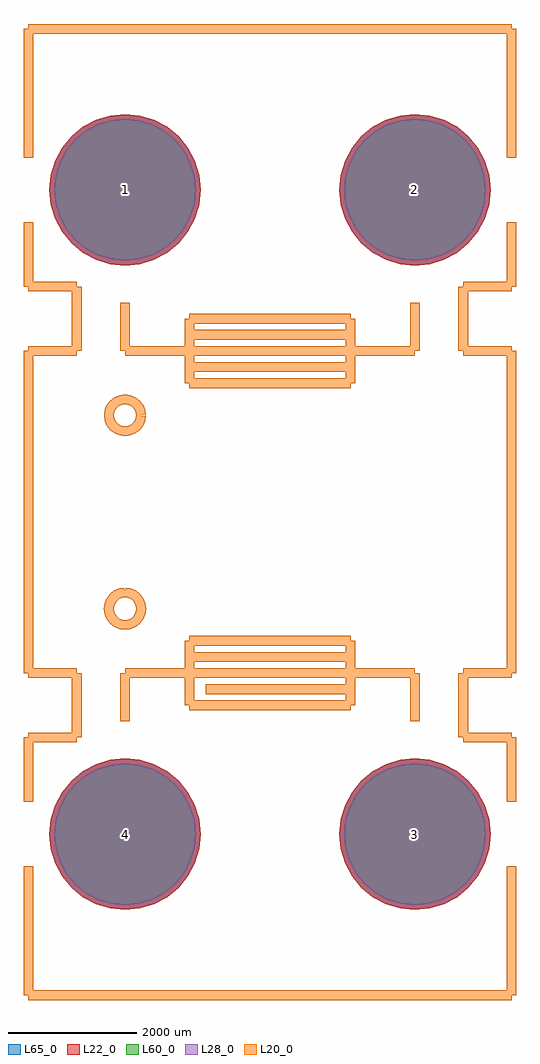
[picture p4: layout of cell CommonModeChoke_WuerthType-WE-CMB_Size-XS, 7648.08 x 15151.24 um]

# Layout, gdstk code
import gdstk
lib = gdstk.Library(unit=1e-6, precision=1e-09)
def P(c, l, *ps):  # polygons
    for p in ps: c.add(gdstk.Polygon(p, *l))
L20_0 = (20, 0)
L22_0 = (22, 0)
L28_0 = (28, 0)
L60_0 = (60, 0)
L65_0 = (65, 0)

commonmodechoke_wuerthty = lib.new_cell('CommonModeChoke_WuerthType-WE-CMB_Size-XS')
P(commonmodechoke_wuerthty, L22_0, [(-1075.62,5001.26),(-1098.194,5230.456),(-1165.048,5450.844),(-1273.613,5653.955),(-1419.717,5831.983),(-1597.745,5978.087),(-1800.856,6086.652),(-2021.244,6153.506),(-2250.44,6176.08),(-2479.636,6153.506),(-2700.024,6086.652),(-2903.135,5978.087),(-3081.163,5831.983),(-3227.267,5653.955),(-3335.832,5450.844),(-3402.686,5230.456),(-3425.26,5001.26),(-3402.686,4772.064),(-3335.832,4551.676),(-3227.267,4348.565),(-3081.163,4170.537),(-2903.135,4024.433),(-2700.024,3915.868),(-2479.636,3849.014),(-2250.44,3826.44),(-2021.244,3849.014),(-1800.856,3915.868),(-1597.745,4024.433),(-1419.717,4170.537),(-1273.613,4348.565),(-1165.048,4551.676),(-1098.194,4772.064)],
  [(3425.26,5001.26),(3402.686,5230.456),(3335.832,5450.844),(3227.267,5653.955),(3081.163,5831.983),(2903.135,5978.087),(2700.024,6086.652),(2479.636,6153.506),(2250.44,6176.08),(2021.244,6153.506),(1800.856,6086.652),(1597.745,5978.087),(1419.717,5831.983),(1273.613,5653.955),(1165.048,5450.844),(1098.194,5230.456),(1075.62,5001.26),(1098.194,4772.064),(1165.048,4551.676),(1273.613,4348.565),(1419.717,4170.537),(1597.745,4024.433),(1800.856,3915.868),(2021.244,3849.014),(2250.44,3826.44),(2479.636,3849.014),(2700.024,3915.868),(2903.135,4024.433),(3081.163,4170.537),(3227.267,4348.565),(3335.832,4551.676),(3402.686,4772.064)],
  [(3425.26,-5001.26),(3402.686,-4772.064),(3335.832,-4551.676),(3227.267,-4348.565),(3081.163,-4170.537),(2903.135,-4024.433),(2700.024,-3915.868),(2479.636,-3849.014),(2250.44,-3826.44),(2021.244,-3849.014),(1800.856,-3915.868),(1597.745,-4024.433),(1419.717,-4170.537),(1273.613,-4348.565),(1165.048,-4551.676),(1098.194,-4772.064),(1075.62,-5001.26),(1098.194,-5230.456),(1165.048,-5450.844),(1273.613,-5653.955),(1419.717,-5831.983),(1597.745,-5978.087),(1800.856,-6086.652),(2021.244,-6153.506),(2250.44,-6176.08),(2479.636,-6153.506),(2700.024,-6086.652),(2903.135,-5978.087),(3081.163,-5831.983),(3227.267,-5653.955),(3335.832,-5450.844),(3402.686,-5230.456)],
  [(-1075.62,-5001.26),(-1098.194,-4772.064),(-1165.048,-4551.676),(-1273.613,-4348.565),(-1419.717,-4170.537),(-1597.745,-4024.433),(-1800.856,-3915.868),(-2021.244,-3849.014),(-2250.44,-3826.44),(-2479.636,-3849.014),(-2700.024,-3915.868),(-2903.135,-4024.433),(-3081.163,-4170.537),(-3227.267,-4348.565),(-3335.832,-4551.676),(-3402.686,-4772.064),(-3425.26,-5001.26),(-3402.686,-5230.456),(-3335.832,-5450.844),(-3227.267,-5653.955),(-3081.163,-5831.983),(-2903.135,-5978.087),(-2700.024,-6086.652),(-2479.636,-6153.506),(-2250.44,-6176.08),(-2021.244,-6153.506),(-1800.856,-6086.652),(-1597.745,-5978.087),(-1419.717,-5831.983),(-1273.613,-5653.955),(-1165.048,-5450.844),(-1098.194,-5230.456)])
P(commonmodechoke_wuerthty, L28_0, [(-1150.62,5001.26),(-1171.753,5215.824),(-1234.339,5422.143),(-1335.973,5612.287),(-1472.75,5778.95),(-1639.413,5915.727),(-1829.557,6017.361),(-2035.876,6079.947),(-2250.44,6101.08),(-2465.004,6079.947),(-2671.323,6017.361),(-2861.467,5915.727),(-3028.13,5778.95),(-3164.907,5612.287),(-3266.541,5422.143),(-3329.127,5215.824),(-3350.26,5001.26),(-3329.127,4786.696),(-3266.541,4580.377),(-3164.907,4390.233),(-3028.13,4223.57),(-2861.467,4086.793),(-2671.323,3985.159),(-2465.004,3922.573),(-2250.44,3901.44),(-2035.876,3922.573),(-1829.557,3985.159),(-1639.413,4086.793),(-1472.75,4223.57),(-1335.973,4390.233),(-1234.339,4580.377),(-1171.753,4786.696)],
  [(3350.26,5001.26),(3329.127,5215.824),(3266.541,5422.143),(3164.907,5612.287),(3028.13,5778.95),(2861.467,5915.727),(2671.323,6017.361),(2465.004,6079.947),(2250.44,6101.08),(2035.876,6079.947),(1829.557,6017.361),(1639.413,5915.727),(1472.75,5778.95),(1335.973,5612.287),(1234.339,5422.143),(1171.753,5215.824),(1150.62,5001.26),(1171.753,4786.696),(1234.339,4580.377),(1335.973,4390.233),(1472.75,4223.57),(1639.413,4086.793),(1829.557,3985.159),(2035.876,3922.573),(2250.44,3901.44),(2465.004,3922.573),(2671.323,3985.159),(2861.467,4086.793),(3028.13,4223.57),(3164.907,4390.233),(3266.541,4580.377),(3329.127,4786.696)],
  [(3350.26,-5001.26),(3329.127,-4786.696),(3266.541,-4580.377),(3164.907,-4390.233),(3028.13,-4223.57),(2861.467,-4086.793),(2671.323,-3985.159),(2465.004,-3922.573),(2250.44,-3901.44),(2035.876,-3922.573),(1829.557,-3985.159),(1639.413,-4086.793),(1472.75,-4223.57),(1335.973,-4390.233),(1234.339,-4580.377),(1171.753,-4786.696),(1150.62,-5001.26),(1171.753,-5215.824),(1234.339,-5422.143),(1335.973,-5612.287),(1472.75,-5778.95),(1639.413,-5915.727),(1829.557,-6017.361),(2035.876,-6079.947),(2250.44,-6101.08),(2465.004,-6079.947),(2671.323,-6017.361),(2861.467,-5915.727),(3028.13,-5778.95),(3164.907,-5612.287),(3266.541,-5422.143),(3329.127,-5215.824)],
  [(-1150.62,-5001.26),(-1171.753,-4786.696),(-1234.339,-4580.377),(-1335.973,-4390.233),(-1472.75,-4223.57),(-1639.413,-4086.793),(-1829.557,-3985.159),(-2035.876,-3922.573),(-2250.44,-3901.44),(-2465.004,-3922.573),(-2671.323,-3985.159),(-2861.467,-4086.793),(-3028.13,-4223.57),(-3164.907,-4390.233),(-3266.541,-4580.377),(-3329.127,-4786.696),(-3350.26,-5001.26),(-3329.127,-5215.824),(-3266.541,-5422.143),(-3164.907,-5612.287),(-3028.13,-5778.95),(-2861.467,-5915.727),(-2671.323,-6017.361),(-2465.004,-6079.947),(-2250.44,-6101.08),(-2035.876,-6079.947),(-1829.557,-6017.361),(-1639.413,-5915.727),(-1472.75,-5778.95),(-1335.973,-5612.287),(-1234.339,-5422.143),(-1171.753,-5215.824)])
P(commonmodechoke_wuerthty, L60_0, [(-1150.62,5001.26),(-1171.753,5215.824),(-1234.339,5422.143),(-1335.973,5612.287),(-1472.75,5778.95),(-1639.413,5915.727),(-1829.557,6017.361),(-2035.876,6079.947),(-2250.44,6101.08),(-2465.004,6079.947),(-2671.323,6017.361),(-2861.467,5915.727),(-3028.13,5778.95),(-3164.907,5612.287),(-3266.541,5422.143),(-3329.127,5215.824),(-3350.26,5001.26),(-3329.127,4786.696),(-3266.541,4580.377),(-3164.907,4390.233),(-3028.13,4223.57),(-2861.467,4086.793),(-2671.323,3985.159),(-2465.004,3922.573),(-2250.44,3901.44),(-2035.876,3922.573),(-1829.557,3985.159),(-1639.413,4086.793),(-1472.75,4223.57),(-1335.973,4390.233),(-1234.339,4580.377),(-1171.753,4786.696)],
  [(3350.26,5001.26),(3329.127,5215.824),(3266.541,5422.143),(3164.907,5612.287),(3028.13,5778.95),(2861.467,5915.727),(2671.323,6017.361),(2465.004,6079.947),(2250.44,6101.08),(2035.876,6079.947),(1829.557,6017.361),(1639.413,5915.727),(1472.75,5778.95),(1335.973,5612.287),(1234.339,5422.143),(1171.753,5215.824),(1150.62,5001.26),(1171.753,4786.696),(1234.339,4580.377),(1335.973,4390.233),(1472.75,4223.57),(1639.413,4086.793),(1829.557,3985.159),(2035.876,3922.573),(2250.44,3901.44),(2465.004,3922.573),(2671.323,3985.159),(2861.467,4086.793),(3028.13,4223.57),(3164.907,4390.233),(3266.541,4580.377),(3329.127,4786.696)],
  [(3350.26,-5001.26),(3329.127,-4786.696),(3266.541,-4580.377),(3164.907,-4390.233),(3028.13,-4223.57),(2861.467,-4086.793),(2671.323,-3985.159),(2465.004,-3922.573),(2250.44,-3901.44),(2035.876,-3922.573),(1829.557,-3985.159),(1639.413,-4086.793),(1472.75,-4223.57),(1335.973,-4390.233),(1234.339,-4580.377),(1171.753,-4786.696),(1150.62,-5001.26),(1171.753,-5215.824),(1234.339,-5422.143),(1335.973,-5612.287),(1472.75,-5778.95),(1639.413,-5915.727),(1829.557,-6017.361),(2035.876,-6079.947),(2250.44,-6101.08),(2465.004,-6079.947),(2671.323,-6017.361),(2861.467,-5915.727),(3028.13,-5778.95),(3164.907,-5612.287),(3266.541,-5422.143),(3329.127,-5215.824)],
  [(-1150.62,-5001.26),(-1171.753,-4786.696),(-1234.339,-4580.377),(-1335.973,-4390.233),(-1472.75,-4223.57),(-1639.413,-4086.793),(-1829.557,-3985.159),(-2035.876,-3922.573),(-2250.44,-3901.44),(-2465.004,-3922.573),(-2671.323,-3985.159),(-2861.467,-4086.793),(-3028.13,-4223.57),(-3164.907,-4390.233),(-3266.541,-4580.377),(-3329.127,-4786.696),(-3350.26,-5001.26),(-3329.127,-5215.824),(-3266.541,-5422.143),(-3164.907,-5612.287),(-3028.13,-5778.95),(-2861.467,-5915.727),(-2671.323,-6017.361),(-2465.004,-6079.947),(-2250.44,-6101.08),(-2035.876,-6079.947),(-1829.557,-6017.361),(-1639.413,-5915.727),(-1472.75,-5778.95),(-1335.973,-5612.287),(-1234.339,-5422.143),(-1171.753,-5215.824)])
P(commonmodechoke_wuerthty, L65_0, [(-1075.62,5001.26),(-1098.194,5230.456),(-1165.048,5450.844),(-1273.613,5653.955),(-1419.717,5831.983),(-1597.745,5978.087),(-1800.856,6086.652),(-2021.244,6153.506),(-2250.44,6176.08),(-2479.636,6153.506),(-2700.024,6086.652),(-2903.135,5978.087),(-3081.163,5831.983),(-3227.267,5653.955),(-3335.832,5450.844),(-3402.686,5230.456),(-3425.26,5001.26),(-3402.686,4772.064),(-3335.832,4551.676),(-3227.267,4348.565),(-3081.163,4170.537),(-2903.135,4024.433),(-2700.024,3915.868),(-2479.636,3849.014),(-2250.44,3826.44),(-2021.244,3849.014),(-1800.856,3915.868),(-1597.745,4024.433),(-1419.717,4170.537),(-1273.613,4348.565),(-1165.048,4551.676),(-1098.194,4772.064)],
  [(3425.26,5001.26),(3402.686,5230.456),(3335.832,5450.844),(3227.267,5653.955),(3081.163,5831.983),(2903.135,5978.087),(2700.024,6086.652),(2479.636,6153.506),(2250.44,6176.08),(2021.244,6153.506),(1800.856,6086.652),(1597.745,5978.087),(1419.717,5831.983),(1273.613,5653.955),(1165.048,5450.844),(1098.194,5230.456),(1075.62,5001.26),(1098.194,4772.064),(1165.048,4551.676),(1273.613,4348.565),(1419.717,4170.537),(1597.745,4024.433),(1800.856,3915.868),(2021.244,3849.014),(2250.44,3826.44),(2479.636,3849.014),(2700.024,3915.868),(2903.135,4024.433),(3081.163,4170.537),(3227.267,4348.565),(3335.832,4551.676),(3402.686,4772.064)],
  [(3425.26,-5001.26),(3402.686,-4772.064),(3335.832,-4551.676),(3227.267,-4348.565),(3081.163,-4170.537),(2903.135,-4024.433),(2700.024,-3915.868),(2479.636,-3849.014),(2250.44,-3826.44),(2021.244,-3849.014),(1800.856,-3915.868),(1597.745,-4024.433),(1419.717,-4170.537),(1273.613,-4348.565),(1165.048,-4551.676),(1098.194,-4772.064),(1075.62,-5001.26),(1098.194,-5230.456),(1165.048,-5450.844),(1273.613,-5653.955),(1419.717,-5831.983),(1597.745,-5978.087),(1800.856,-6086.652),(2021.244,-6153.506),(2250.44,-6176.08),(2479.636,-6153.506),(2700.024,-6086.652),(2903.135,-5978.087),(3081.163,-5831.983),(3227.267,-5653.955),(3335.832,-5450.844),(3402.686,-5230.456)],
  [(-1075.62,-5001.26),(-1098.194,-4772.064),(-1165.048,-4551.676),(-1273.613,-4348.565),(-1419.717,-4170.537),(-1597.745,-4024.433),(-1800.856,-3915.868),(-2021.244,-3849.014),(-2250.44,-3826.44),(-2479.636,-3849.014),(-2700.024,-3915.868),(-2903.135,-4024.433),(-3081.163,-4170.537),(-3227.267,-4348.565),(-3335.832,-4551.676),(-3402.686,-4772.064),(-3425.26,-5001.26),(-3402.686,-5230.456),(-3335.832,-5450.844),(-3227.267,-5653.955),(-3081.163,-5831.983),(-2903.135,-5978.087),(-2700.024,-6086.652),(-2479.636,-6153.506),(-2250.44,-6176.08),(-2021.244,-6153.506),(-1800.856,-6086.652),(-1597.745,-5978.087),(-1419.717,-5831.983),(-1273.613,-5653.955),(-1165.048,-5450.844),(-1098.194,-5230.456)])
commonmodechoke_wuerthty.add(gdstk.FlexPath([(3749.04,-7500.62),(-3749.04,-7500.62)], 149.998, ends="flush", simple_path=True, layer=20, datatype=0))  # L20_0
commonmodechoke_wuerthty.add(gdstk.FlexPath([(0,7500.62),(3749.04,7500.62)], 149.998, ends="flush", simple_path=True, layer=20, datatype=0))  # L20_0
commonmodechoke_wuerthty.add(gdstk.FlexPath([(-3749.04,7500.62),(0,7500.62)], 149.998, ends="flush", simple_path=True, layer=20, datatype=0))  # L20_0
commonmodechoke_wuerthty.add(gdstk.FlexPath([(3749.04,7500.62),(3749.04,5499.1)], 149.998, ends="flush", simple_path=True, layer=20, datatype=0))  # L20_0
commonmodechoke_wuerthty.add(gdstk.FlexPath([(2999.74,2499.36),(3749.04,2499.36)], 149.998, ends="flush", simple_path=True, layer=20, datatype=0))  # L20_0
commonmodechoke_wuerthty.add(gdstk.FlexPath([(2999.74,3500.12),(2999.74,2499.36)], 149.998, ends="flush", simple_path=True, layer=20, datatype=0))  # L20_0
commonmodechoke_wuerthty.add(gdstk.FlexPath([(3749.04,3500.12),(2999.74,3500.12)], 149.998, ends="flush", simple_path=True, layer=20, datatype=0))  # L20_0
commonmodechoke_wuerthty.add(gdstk.FlexPath([(3749.04,4500.88),(3749.04,3500.12)], 149.998, ends="flush", simple_path=True, layer=20, datatype=0))  # L20_0
commonmodechoke_wuerthty.add(gdstk.FlexPath([(3749.04,-3500.12),(3749.04,-4500.88)], 149.998, ends="flush", simple_path=True, layer=20, datatype=0))  # L20_0
commonmodechoke_wuerthty.add(gdstk.FlexPath([(2999.74,-3500.12),(3749.04,-3500.12)], 149.998, ends="flush", simple_path=True, layer=20, datatype=0))  # L20_0
commonmodechoke_wuerthty.add(gdstk.FlexPath([(2999.74,-2499.36),(2999.74,-3500.12)], 149.998, ends="flush", simple_path=True, layer=20, datatype=0))  # L20_0
commonmodechoke_wuerthty.add(gdstk.FlexPath([(3749.04,-2499.36),(2999.74,-2499.36)], 149.998, ends="flush", simple_path=True, layer=20, datatype=0))  # L20_0
commonmodechoke_wuerthty.add(gdstk.FlexPath([(3749.04,2499.36),(3749.04,-2499.36)], 149.998, ends="flush", simple_path=True, layer=20, datatype=0))  # L20_0
commonmodechoke_wuerthty.add(gdstk.FlexPath([(3749.04,-5499.1),(3749.04,-7500.62)], 149.998, ends="flush", simple_path=True, layer=20, datatype=0))  # L20_0
commonmodechoke_wuerthty.add(gdstk.FlexPath([(-3749.04,-7500.62),(-3749.04,-5499.1)], 149.998, ends="flush", simple_path=True, layer=20, datatype=0))  # L20_0
commonmodechoke_wuerthty.add(gdstk.FlexPath([(-3749.04,3500.12),(-3749.04,4500.88)], 149.998, ends="flush", simple_path=True, layer=20, datatype=0))  # L20_0
commonmodechoke_wuerthty.add(gdstk.FlexPath([(-2999.74,3500.12),(-3749.04,3500.12)], 149.998, ends="flush", simple_path=True, layer=20, datatype=0))  # L20_0
commonmodechoke_wuerthty.add(gdstk.FlexPath([(-2999.74,2499.36),(-2999.74,3500.12)], 149.998, ends="flush", simple_path=True, layer=20, datatype=0))  # L20_0
commonmodechoke_wuerthty.add(gdstk.FlexPath([(-3749.04,2499.36),(-2999.74,2499.36)], 149.998, ends="flush", simple_path=True, layer=20, datatype=0))  # L20_0
commonmodechoke_wuerthty.add(gdstk.FlexPath([(-3749.04,-2499.36),(-3749.04,2499.36)], 149.998, ends="flush", simple_path=True, layer=20, datatype=0))  # L20_0
commonmodechoke_wuerthty.add(gdstk.FlexPath([(-2999.74,-2499.36),(-3749.04,-2499.36)], 149.998, ends="flush", simple_path=True, layer=20, datatype=0))  # L20_0
commonmodechoke_wuerthty.add(gdstk.FlexPath([(-2999.74,-3500.12),(-2999.74,-2499.36)], 149.998, ends="flush", simple_path=True, layer=20, datatype=0))  # L20_0
commonmodechoke_wuerthty.add(gdstk.FlexPath([(-3749.04,-3500.12),(-2999.74,-3500.12)], 149.998, ends="flush", simple_path=True, layer=20, datatype=0))  # L20_0
commonmodechoke_wuerthty.add(gdstk.FlexPath([(-3749.04,-4500.88),(-3749.04,-3500.12)], 149.998, ends="flush", simple_path=True, layer=20, datatype=0))  # L20_0
commonmodechoke_wuerthty.add(gdstk.FlexPath([(-3749.04,5499.1),(-3749.04,7500.62)], 149.998, ends="flush", simple_path=True, layer=20, datatype=0))  # L20_0
commonmodechoke_wuerthty.add(gdstk.FlexPath([(-1249.68,2999.74),(0,2999.74)], 149.998, ends="flush", simple_path=True, layer=20, datatype=0))  # L20_0
commonmodechoke_wuerthty.add(gdstk.FlexPath([(-1249.68,1998.98),(-1249.68,2999.74)], 149.998, ends="flush", simple_path=True, layer=20, datatype=0))  # L20_0
commonmodechoke_wuerthty.add(gdstk.FlexPath([(1249.68,1998.98),(-1249.68,1998.98)], 149.998, ends="flush", simple_path=True, layer=20, datatype=0))  # L20_0
commonmodechoke_wuerthty.add(gdstk.FlexPath([(1249.68,2999.74),(1249.68,1998.98)], 149.998, ends="flush", simple_path=True, layer=20, datatype=0))  # L20_0
commonmodechoke_wuerthty.add(gdstk.FlexPath([(0,2999.74),(1249.68,2999.74)], 149.998, ends="flush", simple_path=True, layer=20, datatype=0))  # L20_0
commonmodechoke_wuerthty.add(gdstk.FlexPath([(1249.68,2499.36),(2250.44,2499.36)], 149.998, ends="flush", simple_path=True, layer=20, datatype=0))  # L20_0
commonmodechoke_wuerthty.add(gdstk.FlexPath([(2250.44,2499.36),(2250.44,3251.2)], 149.998, ends="flush", simple_path=True, layer=20, datatype=0))  # L20_0
commonmodechoke_wuerthty.add(gdstk.FlexPath([(-2250.44,2499.36),(-2250.44,3251.2)], 149.998, ends="flush", simple_path=True, layer=20, datatype=0))  # L20_0
commonmodechoke_wuerthty.add(gdstk.FlexPath([(-1249.68,2499.36),(-2250.44,2499.36)], 149.998, ends="flush", simple_path=True, layer=20, datatype=0))  # L20_0
commonmodechoke_wuerthty.add(gdstk.FlexPath([(-1249.68,-2999.74),(0,-2999.74)], 149.998, ends="flush", simple_path=True, layer=20, datatype=0))  # L20_0
commonmodechoke_wuerthty.add(gdstk.FlexPath([(-1249.68,-1998.98),(-1249.68,-2999.74)], 149.998, ends="flush", simple_path=True, layer=20, datatype=0))  # L20_0
commonmodechoke_wuerthty.add(gdstk.FlexPath([(-1000.76,-1998.98),(-1249.68,-1998.98)], 149.998, ends="flush", simple_path=True, layer=20, datatype=0))  # L20_0
commonmodechoke_wuerthty.add(gdstk.FlexPath([(1249.68,-1998.98),(-1000.76,-1998.98)], 149.998, ends="flush", simple_path=True, layer=20, datatype=0))  # L20_0
commonmodechoke_wuerthty.add(gdstk.FlexPath([(1249.68,-2999.74),(1249.68,-1998.98)], 149.998, ends="flush", simple_path=True, layer=20, datatype=0))  # L20_0
commonmodechoke_wuerthty.add(gdstk.FlexPath([(0,-2999.74),(1249.68,-2999.74)], 149.998, ends="flush", simple_path=True, layer=20, datatype=0))  # L20_0
commonmodechoke_wuerthty.add(gdstk.FlexPath([(2250.44,-2499.36),(2250.44,-3251.2)], 149.998, ends="flush", simple_path=True, layer=20, datatype=0))  # L20_0
commonmodechoke_wuerthty.add(gdstk.FlexPath([(1249.68,-2499.36),(2250.44,-2499.36)], 149.998, ends="flush", simple_path=True, layer=20, datatype=0))  # L20_0
commonmodechoke_wuerthty.add(gdstk.FlexPath([(-1249.68,-2499.36),(-2250.44,-2499.36)], 149.998, ends="flush", simple_path=True, layer=20, datatype=0))  # L20_0
commonmodechoke_wuerthty.add(gdstk.FlexPath([(-2250.44,-2499.36),(-2250.44,-3251.2)], 149.998, ends="flush", simple_path=True, layer=20, datatype=0))  # L20_0
commonmodechoke_wuerthty.add(gdstk.FlexPath([(-2001.52,1501.14),(-2010.002,1565.565),(-2034.869,1625.6),(-2074.427,1677.153),(-2125.98,1716.711),(-2186.015,1741.578),(-2250.44,1750.06),(-2314.865,1741.578),(-2374.9,1716.711),(-2426.453,1677.153),(-2466.011,1625.6),(-2490.878,1565.565),(-2499.36,1501.14),(-2490.878,1436.715),(-2466.011,1376.68),(-2426.453,1325.127),(-2374.9,1285.569),(-2314.865,1260.702),(-2250.44,1252.22),(-2186.015,1260.702),(-2125.98,1285.569),(-2074.427,1325.127),(-2034.869,1376.68),(-2010.002,1436.715),(-2001.52,1501.14)], 149.998, ends="flush", simple_path=True, layer=20, datatype=0))  # L20_0
commonmodechoke_wuerthty.add(gdstk.FlexPath([(-2250.44,-1249.68),(-2315.523,-1258.248),(-2376.17,-1283.369),(-2428.249,-1323.331),(-2468.211,-1375.41),(-2493.332,-1436.057),(-2501.9,-1501.14),(-2493.332,-1566.223),(-2468.211,-1626.87),(-2428.249,-1678.949),(-2376.17,-1718.911),(-2315.523,-1744.032),(-2250.44,-1752.6),(-2185.357,-1744.032),(-2124.71,-1718.911),(-2072.631,-1678.949),(-2032.669,-1626.87),(-2007.548,-1566.223),(-1998.98,-1501.14),(-2007.548,-1436.057),(-2032.669,-1375.41),(-2072.631,-1323.331),(-2124.71,-1283.369),(-2185.357,-1258.248),(-2250.44,-1249.68)], 149.998, ends="flush", simple_path=True, layer=20, datatype=0))  # L20_0
commonmodechoke_wuerthty.add(gdstk.FlexPath([(-1249.68,2750.82),(-1249.68,2499.36)], 149.998, ends="flush", simple_path=True, layer=20, datatype=0))  # L20_0
commonmodechoke_wuerthty.add(gdstk.FlexPath([(1249.68,2750.82),(-1249.68,2750.82)], 149.998, ends="flush", simple_path=True, layer=20, datatype=0))  # L20_0
commonmodechoke_wuerthty.add(gdstk.FlexPath([(-1249.68,2250.44),(1249.68,2250.44)], 149.998, ends="flush", simple_path=True, layer=20, datatype=0))  # L20_0
commonmodechoke_wuerthty.add(gdstk.FlexPath([(1249.68,2499.36),(-1249.68,2499.36)], 149.998, ends="flush", simple_path=True, layer=20, datatype=0))  # L20_0
commonmodechoke_wuerthty.add(gdstk.FlexPath([(1249.68,-2499.36),(-1249.68,-2499.36)], 149.998, ends="flush", simple_path=True, layer=20, datatype=0))  # L20_0
commonmodechoke_wuerthty.add(gdstk.FlexPath([(1249.68,-2250.44),(-1249.68,-2250.44)], 149.998, ends="flush", simple_path=True, layer=20, datatype=0))  # L20_0
commonmodechoke_wuerthty.add(gdstk.FlexPath([(1249.68,-2750.82),(-1000.76,-2750.82)], 149.998, ends="flush", simple_path=True, layer=20, datatype=0))  # L20_0
commonmodechoke_wuerthty.add(gdstk.Label('1', (-2250.44,5001.26), layer=28, texttype=0))
commonmodechoke_wuerthty.add(gdstk.Label('2', (2250.44,5001.26), layer=28, texttype=0))
commonmodechoke_wuerthty.add(gdstk.Label('3', (2250.44,-5001.26), layer=28, texttype=0))
commonmodechoke_wuerthty.add(gdstk.Label('4', (-2250.44,-5001.26), layer=28, texttype=0))
commonmodechoke_wuerthty.add(gdstk.Label('1', (-5001.26,5001.26), layer=9, texttype=0))
commonmodechoke_wuerthty.add(gdstk.Label('2', (4500.88,5001.26), layer=9, texttype=0))
commonmodechoke_wuerthty.add(gdstk.Label('3', (4500.88,-5001.26), layer=9, texttype=0))
commonmodechoke_wuerthty.add(gdstk.Label('4', (-5001.26,-5001.26), layer=9, texttype=0))
commonmodechoke_wuerthty.add(gdstk.Label('type', (-1000.76,-9999.98), layer=9, texttype=0))
commonmodechoke_wuerthty.add(gdstk.Label('devicename', (0,9999.98), layer=9, texttype=0))

lib.write_gds('CommonModeChoke_WuerthType-WE-CMB_Size-XS.gds')
